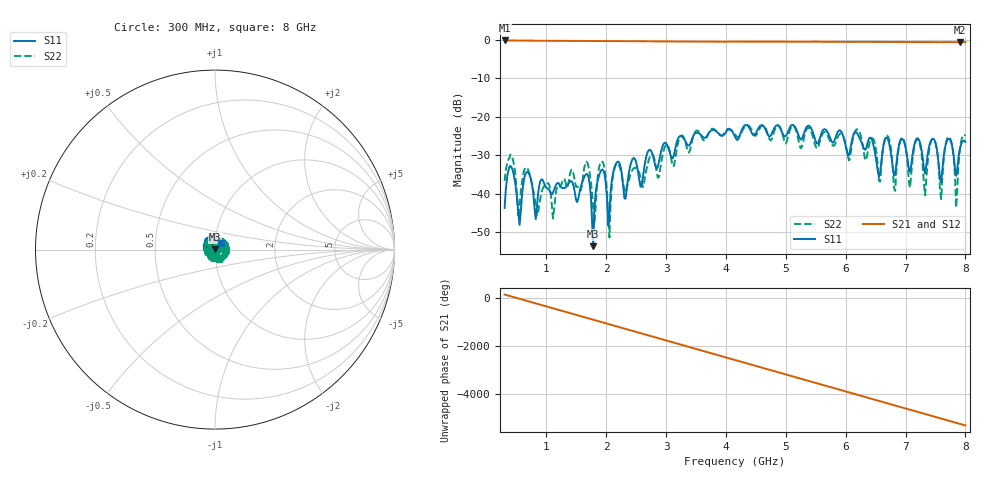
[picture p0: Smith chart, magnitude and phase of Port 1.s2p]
! RsaToolbox (C) 2014 Rohde & Schwarz America
! Number of points: 401
! Number of ports: 2
! Balanced ports?: No
# Hz S RI R 50
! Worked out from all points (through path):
!   401 points, 300 MHz to 8 GHz, reference 50 ohm
!   highest |S21| = -0.13 dB at 300 MHz (marker M1); lowest = -0.6 dB at 7.904 GHz (marker M2)
!   group delay of S21, straight-line fit = 1.97 ns
!   lowest |S11| = -53.6 dB at 1.782 GHz (marker M3), VSWR 1.00, Z = 50.2 + j0.0744 ohm
!   |S11| at or under -10 dB: start of sweep to end of sweep
!   |S22| runs from -51.3 to -22.2 dB; largest |S21 - S12| = 0
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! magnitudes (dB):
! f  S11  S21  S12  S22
! 300 MHz  -43.6  -0.1  -0.1  -36.6
! 396.2 MHz  -32.7  -0.2  -0.2  -29.8
! 858.2 MHz  -40.1  -0.2  -0.2  -45.0
! 1.59 GHz  -37.3  -0.3  -0.3  -38.0
! 1.782 GHz  -53.6  -0.3  -0.3  -44.1
! 1.917 GHz  -33.8  -0.3  -0.3  -31.5
! 2.052 GHz  -45.1  -0.3  -0.3  -51.3
! 2.167 GHz  -32.0  -0.3  -0.3  -32.2
! 2.88 GHz  -31.6  -0.4  -0.4  -35.6
! 4.15 GHz  -25.1  -0.4  -0.4  -24.5
! 5.44 GHz  -23.5  -0.5  -0.5  -24.5
! 6.729 GHz  -27.1  -0.5  -0.5  -26.0
! 6.826 GHz  -35.0  -0.5  -0.5  -39.2
! 6.941 GHz  -25.7  -0.5  -0.5  -25.4
! 7.076 GHz  -34.3  -0.5  -0.5  -38.4
! 7.191 GHz  -25.5  -0.5  -0.5  -25.8
! 7.326 GHz  -34.7  -0.5  -0.5  -40.3
! 7.461 GHz  -25.7  -0.5  -0.5  -25.7
! 7.596 GHz  -37.0  -0.6  -0.6  -41.4
! 7.711 GHz  -25.7  -0.6  -0.6  -25.2
! 7.904 GHz  -28.6  -0.6  -0.6  -29.0
! 8 GHz  -26.5  -0.6  -0.6  -24.9
